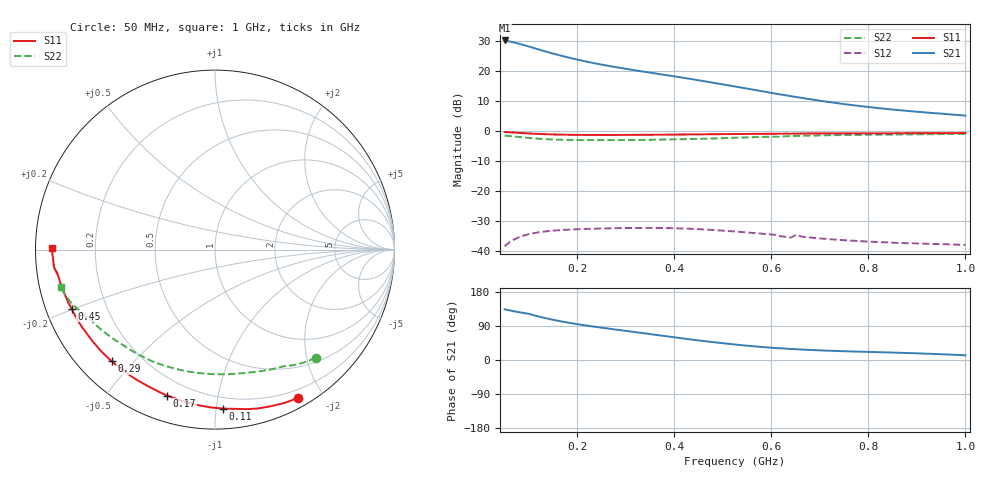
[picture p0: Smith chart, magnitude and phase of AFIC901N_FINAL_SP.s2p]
! Copyright - Freescale Semiconductor, Inc. 2016
! 01/21/2016
! Rev 0
! AFIC901N Final S-Parameters
! Vdd=7.5 Vdc, IDQ=90mA
# hz S ma R 50
! freq  magS11  angS11  magS21  angS21  magS12  angS12  magS22  angS22
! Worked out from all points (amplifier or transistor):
!   96 points, 50 MHz to 1 GHz, reference 50 ohm
!   highest |S21| = 30.1 dB at 50 MHz (marker M1)
!   |S21| within 3 dB of that: start of sweep to 120.2 MHz
!   unconditionally stable (mu >= 1): nowhere
!   at 210 MHz: K = 0.07, MSG = 28.1 dB, |S12| = -32.8 dB
!   at 530 MHz: K = 0.15, MSG = 24.2 dB, |S12| = -33.7 dB
!   at 1 GHz: K = 0.65, MSG = 21.6 dB, |S12| = -38.1 dB
!   S11 on the Smith chart (normalised r, x): 50 MHz: 0.10, -1.70; 110 MHz: 0.13, -1.05; 170 MHz: 0.12, -0.72; 290 MHz: 0.10, -0.43; 450 MHz: 0.08, -0.20; 1 GHz: 0.05, +0.00
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5e7  0.9477 -60.7  31.86 133.7  0.01181 44.1  0.8226 -47.1
6e7  0.9376 -65.8  30.73 131.1  0.0137 41.4  0.8108 -49.7
7e7  0.9259 -70.6  29.44 128.5  0.01532 38.8  0.7972 -52.5
8e7  0.9165 -75.0  28.08 126.1  0.01671 36.6  0.7826 -55.1
1e8  0.8959 -82.1  25.24 122.0  0.01875 32.6  0.7548 -59.3
1.1e8  0.887 -87.0  23.85 118.3  0.01949 29.1  0.7428 -63.0
1.2e8  0.8797 -91.5  22.58 114.8  0.02011 25.7  0.7325 -66.3
1.4e8  0.8674 -99.0  20.26 108.8  0.02105 20.0  0.7161 -72.2
1.5e8  0.8622 -102.3  19.24 106.1  0.02143 17.3  0.7102 -74.9
1.7e8  0.8556 -108.2  17.46 101.1  0.02203 12.6  0.7023 -79.6
1.9e8  0.8499 -113.3  15.94 96.6  0.02243 8.3  0.6981 -83.8
2.1e8  0.8468 -117.9  14.67 92.7  0.02281 4.4  0.6951 -87.5
2.5e8  0.8454 -125.7  12.6 85.3  0.02327 -2.5  0.6932 -94.3
2.9e8  0.8471 -132.9  11.05 78.5  0.02365 -9.0  0.6944 -100.8
3.7e8  0.8534 -146.3  8.736 64.9  0.02373 -21.8  0.7066 -114.7
4.2e8  0.8606 -153.7  7.558 56.5  0.02324 -29.5  0.7187 -123.7
4.5e8  0.8638 -157.7  6.893 51.6  0.02268 -34.5  0.7282 -129.0
5.3e8  0.876 -165.8  5.35 40.3  0.02056 -45.4  0.7612 -141.0
6.1e8  0.8855 -170.7  4.108 31.4  0.0182 -54.7  0.7889 -150.5
6.9e8  0.8959 -172.5  3.242 26.0  0.01616 -58.9  0.8278 -155.8
8.5e8  0.9019 -174.5  2.244 19.6  0.01353 -64.9  0.8598 -160.8
1e9  0.9092 179.5  1.779 12.3  0.01244 -72.6  0.8826 -166.2
